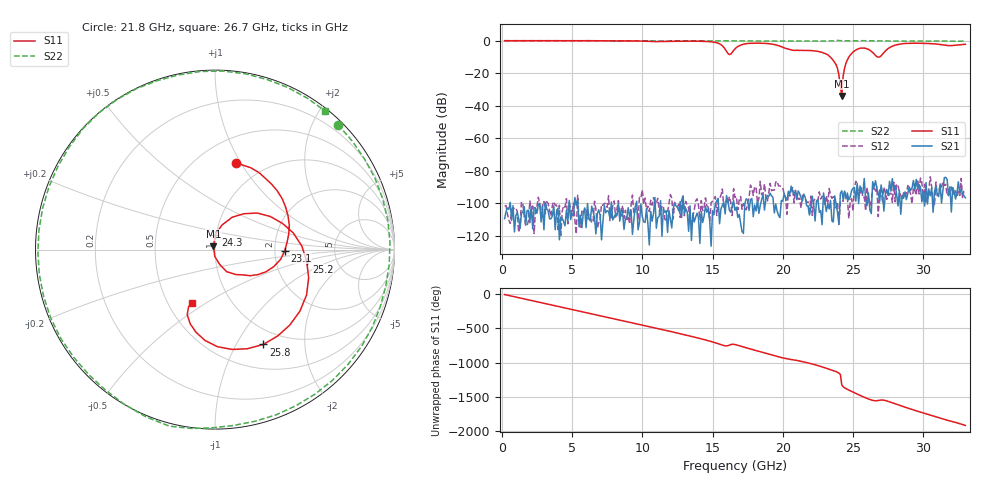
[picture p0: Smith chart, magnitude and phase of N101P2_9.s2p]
# GHZ S RI R 50
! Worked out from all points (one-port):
!   329 points, 200 MHz to 33 GHz, reference 50 ohm
!   lowest |S11| = -33.9 dB at 24.2 GHz (marker M1), VSWR 1.04, Z = 49.1 + j1.79 ohm
!   |S11| at or under -10 dB: 23.38 GHz to 24.71 GHz (1.333 GHz wide, 5.55 % of centre); 26.75645 GHz to 26.88412 GHz (127.7 MHz wide, 0.476 % of centre)
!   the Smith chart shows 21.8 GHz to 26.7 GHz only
!   S11 on the Smith chart (normalised r, x): 21.8 GHz: 0.75, +0.96; 23.1 GHz: 2.27, -0.03; 24.3 GHz: 0.99, +0.17; 25.2 GHz: 3.02, -0.54; 25.8 GHz: 0.80, -1.30; 26.7 GHz: 0.66, -0.44
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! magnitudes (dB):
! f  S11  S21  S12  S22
! 200 MHz  0.0  -109.3  -101.8  0.0
! 5.7 GHz  0.0  -114.9  -104.7  0.0
! 11.2 GHz  -0.5  -107.9  -103.6  -0.1
! 15.1 GHz  -0.9  -107.0  -97.5  -0.1
! 15.7 GHz  -3.1  -101.1  -91.1  -0.1
! 16.2 GHz  -8.6  -104.1  -95.8  -0.1
! 16.6 GHz  -5.0  -104.2  -96.4  -0.1
! 17.2 GHz  -2.2  -118.4  -100.1  -0.1
! 18.4 GHz  -1.5  -101.2  -86.4  -0.2
! 21.8 GHz  -6.1  -101.5  -99.1  -0.2
! 22.1 GHz  -6.1  -95.6  -107.3  -0.2
! 23.1 GHz  -8.2  -104.9  -95.2  -0.2
! 23.9 GHz  -17.1  -105.8  -99.2  0.1
! 24.2 GHz  -33.9  -92.2  -97.9  -0.1
! 24.3 GHz  -21.6  -97.5  -98.7  -0.1
! 24.6 GHz  -11.8  -93.6  -96.5  -0.1
! 25.2 GHz  -5.8  -98.6  -86.4  -0.1
! 25.8 GHz  -4.5  -84.7  -96.0  0.0
! 26.7 GHz  -9.8  -90.9  -89.7  -0.1
! 27.6 GHz  -4.3  -86.3  -93.8  -0.2
! 28.9 GHz  -1.6  -94.0  -89.1  -0.3
! 33 GHz  -2.2  -96.5  -91.4  -0.2
